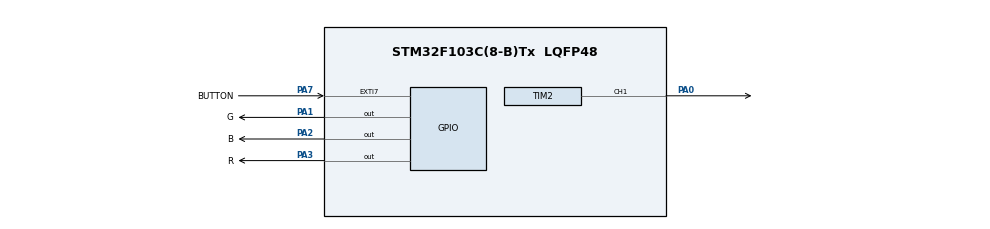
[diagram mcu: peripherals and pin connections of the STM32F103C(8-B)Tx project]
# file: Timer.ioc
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Mcu.Family=STM32F1
Mcu.Name=STM32F103C(8-B)Tx
Mcu.Package=LQFP48
NVIC.EXTI9_5_IRQn=true\:1\:0\:true\:false\:true\:true\:true
NVIC.PriorityGroup=NVIC_PRIORITYGROUP_4
NVIC.TIM2_IRQn=true\:0\:0\:false\:false\:true\:true\:true
PA0-WKUP.Signal=S_TIM2_CH1_ETR
PA1.GPIO_Label=G
PA1.GPIO_ModeDefaultOutputPP=GPIO_MODE_OUTPUT_PP
PA1.GPIO_PuPd=GPIO_PULLDOWN
PA1.Signal=GPIO_Output
PA13.Mode=Serial_Wire
PA13.Signal=SYS_JTMS-SWDIO
PA14.Mode=Serial_Wire
PA14.Signal=SYS_JTCK-SWCLK
PA2.GPIO_Label=B
PA2.GPIO_PuPd=GPIO_PULLDOWN
PA2.Signal=GPIO_Output
PA3.GPIO_Label=R
PA3.GPIO_PuPd=GPIO_PULLDOWN
PA3.Signal=GPIO_Output
PA7.GPIO_Label=BUTTON
PA7.GPIO_ModeDefaultEXTI=GPIO_MODE_IT_FALLING
PA7.GPIO_PuPd=GPIO_PULLUP
PA7.Signal=GPXTI7
ProjectManager.HeapSize=0x200
ProjectManager.StackSize=0x400
ProjectManager.TargetToolchain=STM32CubeIDE
RCC.AHBFreq_Value=8000000
RCC.APB1Freq_Value=8000000
RCC.APB1TimFreq_Value=8000000
RCC.APB2Freq_Value=8000000
RCC.APB2TimFreq_Value=8000000
RCC.HCLKFreq_Value=8000000
SH.S_TIM2_CH1_ETR.0=TIM2_CH1,PWM Generation1 CH1
TIM2.AutoReloadPreload=TIM_AUTORELOAD_PRELOAD_ENABLE
TIM2.Channel-PWM\ Generation1\ CH1=TIM_CHANNEL_1
TIM2.Period=399
TIM2.Prescaler=1999
TIM2.Pulse-PWM\ Generation1\ CH1=199
VP_TIM2_VS_ClockSourceINT.Mode=Internal
board=custom

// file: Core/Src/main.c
/* USER CODE BEGIN Header */
/**
  ******************************************************************************
  * @file           : main.c
  * @brief          : Main program body
  ******************************************************************************
  * @attention
  *
  * <h2><center>&copy; Copyright (c) 2023 STMicroelectronics.
  * All rights reserved.</center></h2>
  *
  * This software component is licensed by ST under BSD 3-Clause license,
  * the "License"; You may not use this file except in compliance with the
  * License. You may obtain a copy of the License at:
  *                        opensource.org/licenses/BSD-3-Clause
  *
  ******************************************************************************
  */
/* USER CODE END Header */
#include "main.h"

/* USER CODE BEGIN PTD */
#define R_ON HAL_GPIO_WritePin(R_GPIO_Port, R_Pin, 1)
#define G_ON HAL_GPIO_WritePin(G_GPIO_Port, G_Pin, 1)
#define B_ON HAL_GPIO_WritePin(B_GPIO_Port, B_Pin, 1)
#define R_OFF HAL_GPIO_WritePin(R_GPIO_Port, R_Pin, 0)
#define G_OFF HAL_GPIO_WritePin(G_GPIO_Port, G_Pin, 0)
#define B_OFF HAL_GPIO_WritePin(B_GPIO_Port, B_Pin, 0)
#define BUTTON_STATE HAL_GPIO_ReadPin(BUTTON_GPIO_Port, BUTTON_Pin)
#define DEBOUNCE_TIME 50
#define PRESS 0
#define RELEASE 1
typedef enum
{
	IDLE = 0,
	WAIT_BUTTON_UP,
	WAIT_PRESS_TIMEOUT,
	WAIT_CLICK_TIMEOUT,
	WAIT_HOLD_TIMEOUT
} my_state_t;

my_state_t state = IDLE;
/* USER CODE END PTD */

TIM_HandleTypeDef htim2;

/* USER CODE BEGIN PV */
uint8_t id_state_LED = 0;
uint8_t button_interrupt = 0;
uint8_t Mode_State = 0;\
uint32_t t_timeout = 0;
uint8_t BT;
uint8_t Percent_PWM = 0;
/* USER CODE END PV */

void SystemClock_Config(void);
static void MX_GPIO_Init(void);
static void MX_TIM2_Init(void);

/* USER CODE BEGIN 0 */
void HAL_TIM_PeriodElapsedCallback(TIM_HandleTypeDef *htim)
{
  /* Prevent unused argument(s) compilation warning */
  UNUSED(htim);
  if (id_state_LED == 1)
  {
	  HAL_GPIO_TogglePin(R_GPIO_Port, R_Pin);
	  G_OFF; B_OFF;
  }

  if (id_state_LED == 2)
    {
  	  HAL_GPIO_TogglePin(G_GPIO_Port, G_Pin);
  	  R_OFF; B_OFF;
    }

  if (id_state_LED == 3)
      {
    	  HAL_GPIO_TogglePin(B_GPIO_Port, B_Pin);
    	  G_OFF; R_OFF;
      }
  if (id_state_LED == 0)
  	  {
	  	  R_OFF; G_OFF; B_OFF;
  	  }
  /* NOTE : This function should not be modified, when the callback is needed,
            the HAL_TIM_PeriodElapsedCallback could be implemented in the user file
   */
}

uint32_t duty_PWM(uint8_t Percent)
{
	return Percent*399/100;
}
/* USER CODE END 0 */

int main(void)
{

  /* MCU Configuration--------------------------------------------------------*/

  /* Reset of all peripherals, Initializes the Flash interface and the Systick. */
  HAL_Init();

  /* USER CODE BEGIN Init */
  HAL_InitTick(TICK_INT_PRIORITY); // Reset HAL_GetTick() to 0
  /* USER CODE END Init */

  /* Configure the system clock */
  SystemClock_Config();

  /* Initialize all configured peripherals */
  MX_GPIO_Init();
  MX_TIM2_Init();

  /* Infinite loop */
  while (1)
  {
	  switch (state)
	  	      {
	  	        case IDLE:
	  	          if (button_interrupt == 1 && BUTTON_STATE == 0)
	  	          {
	  	            state = WAIT_PRESS_TIMEOUT;
	  	            t_timeout = HAL_GetTick() + 50;
	  	          }
	  	          break;

	  	        case WAIT_PRESS_TIMEOUT:
	  	          if (BUTTON_STATE == 0 && HAL_GetTick() > t_timeout)
	  	          {
	  	            state = WAIT_CLICK_TIMEOUT;
	  	            t_timeout = HAL_GetTick() + 250;
	  	          }
	  	          if (BUTTON_STATE == 1 && HAL_GetTick() <= t_timeout)
	  	          {
	  	            state = IDLE;
	  	            button_interrupt = 0;
	  	          }
	  	          break;

	  	        case WAIT_CLICK_TIMEOUT:
	  	          if (BUTTON_STATE == 1 && HAL_GetTick() <= t_timeout)
	  	          {
	  	            if (id_state_LED != 0)
	  	            {
	  	              id_state_LED++;
	  	              if (id_state_LED > 3) id_state_LED = 1;
	  	            }
	  	            state = IDLE;
	  	            button_interrupt = 0;
	  	          }

	  	          if (BUTTON_STATE == 0 && HAL_GetTick() > t_timeout)
	  	          {
	  	            state = WAIT_HOLD_TIMEOUT;
	  	            t_timeout = HAL_GetTick() + 2700;
	  	          }
	  	          break;

	  	        case WAIT_HOLD_TIMEOUT:
	  	          if (BUTTON_STATE == 0 && HAL_GetTick() > t_timeout)
	  	          {
	  	            if (id_state_LED != 0) id_state_LED = 0;
	  	            else id_state_LED = 1;
	  	            state = IDLE;
	  	            button_interrupt = 0;
	  	          }
	  	          break;

	  	        default:
	  	            state = IDLE;
	  	            break;
	  	      }
  }
}

void SystemClock_Config(void)
{
  RCC_OscInitTypeDef RCC_OscInitStruct = {0};
  RCC_ClkInitTypeDef RCC_ClkInitStruct = {0};

  /** Initializes the RCC Oscillators according to the specified parameters
  * in the RCC_OscInitTypeDef structure.
  */
  RCC_OscInitStruct.OscillatorType = RCC_OSCILLATORTYPE_HSI;
  RCC_OscInitStruct.HSIState = RCC_HSI_ON;
  RCC_OscInitStruct.HSICalibrationValue = RCC_HSICALIBRATION_DEFAULT;
  RCC_OscInitStruct.PLL.PLLState = RCC_PLL_NONE;
  if (HAL_RCC_OscConfig(&RCC_OscInitStruct) != HAL_OK)
  {
    Error_Handler();
  }
  /** Initializes the CPU, AHB and APB buses clocks
  */
  RCC_ClkInitStruct.ClockType = RCC_CLOCKTYPE_HCLK|RCC_CLOCKTYPE_SYSCLK
                              |RCC_CLOCKTYPE_PCLK1|RCC_CLOCKTYPE_PCLK2;
  RCC_ClkInitStruct.SYSCLKSource = RCC_SYSCLKSOURCE_HSI;
  RCC_ClkInitStruct.AHBCLKDivider = RCC_SYSCLK_DIV1;
  RCC_ClkInitStruct.APB1CLKDivider = RCC_HCLK_DIV1;
  RCC_ClkInitStruct.APB2CLKDivider = RCC_HCLK_DIV1;

  if (HAL_RCC_ClockConfig(&RCC_ClkInitStruct, FLASH_LATENCY_0) != HAL_OK)
  {
    Error_Handler();
  }
}

static void MX_TIM2_Init(void)
{

  TIM_ClockConfigTypeDef sClockSourceConfig = {0};
  TIM_MasterConfigTypeDef sMasterConfig = {0};
  TIM_OC_InitTypeDef sConfigOC = {0};

  htim2.Instance = TIM2;
  htim2.Init.Prescaler = 199;
  htim2.Init.CounterMode = TIM_COUNTERMODE_UP;
  htim2.Init.Period = 399;
  htim2.Init.ClockDivision = TIM_CLOCKDIVISION_DIV1;
  htim2.Init.AutoReloadPreload = TIM_AUTORELOAD_PRELOAD_ENABLE;
  if (HAL_TIM_Base_Init(&htim2) != HAL_OK)
  {
    Error_Handler();
  }
  sClockSourceConfig.ClockSource = TIM_CLOCKSOURCE_INTERNAL;
  if (HAL_TIM_ConfigClockSource(&htim2, &sClockSourceConfig) != HAL_OK)
  {
    Error_Handler();
  }
  if (HAL_TIM_PWM_Init(&htim2) != HAL_OK)
  {
    Error_Handler();
  }
  sMasterConfig.MasterOutputTrigger = TIM_TRGO_RESET;
  sMasterConfig.MasterSlaveMode = TIM_MASTERSLAVEMODE_DISABLE;
  if (HAL_TIMEx_MasterConfigSynchronization(&htim2, &sMasterConfig) != HAL_OK)
  {
    Error_Handler();
  }
  sConfigOC.OCMode = TIM_OCMODE_PWM1;
  sConfigOC.Pulse = 199;
  sConfigOC.OCPolarity = TIM_OCPOLARITY_HIGH;
  sConfigOC.OCFastMode = TIM_OCFAST_DISABLE;
  if (HAL_TIM_PWM_ConfigChannel(&htim2, &sConfigOC, TIM_CHANNEL_1) != HAL_OK)
  {
    Error_Handler();
  }
  HAL_TIM_MspPostInit(&htim2);

}

static void MX_GPIO_Init(void)
{
  GPIO_InitTypeDef GPIO_InitStruct = {0};

  /* GPIO Ports Clock Enable */
  __HAL_RCC_GPIOA_CLK_ENABLE();

  /*Configure GPIO pin Output Level */
  HAL_GPIO_WritePin(GPIOA, G_Pin|B_Pin|R_Pin, GPIO_PIN_RESET);

  /*Configure GPIO pins : G_Pin B_Pin R_Pin */
  GPIO_InitStruct.Pin = G_Pin|B_Pin|R_Pin;
  GPIO_InitStruct.Mode = GPIO_MODE_OUTPUT_PP;
  GPIO_InitStruct.Pull = GPIO_PULLDOWN;
  GPIO_InitStruct.Speed = GPIO_SPEED_FREQ_LOW;
  HAL_GPIO_Init(GPIOA, &GPIO_InitStruct);

  /*Configure GPIO pin : BUTTON_Pin */
  GPIO_InitStruct.Pin = BUTTON_Pin;
  GPIO_InitStruct.Mode = GPIO_MODE_IT_FALLING;
  GPIO_InitStruct.Pull = GPIO_PULLUP;
  HAL_GPIO_Init(BUTTON_GPIO_Port, &GPIO_InitStruct);

  /* EXTI interrupt init*/
  HAL_NVIC_SetPriority(EXTI9_5_IRQn, 1, 0);
  HAL_NVIC_EnableIRQ(EXTI9_5_IRQn);

}

/* USER CODE BEGIN 4 */
void HAL_GPIO_EXTI_Callback(uint16_t GPIO_Pin)
{
	button_interrupt = 1;
}
/* USER CODE END 4 */

void Error_Handler(void)
{
  __disable_irq();
  while (1)
  {
  }
}

/************************ (C) COPYRIGHT STMicroelectronics *****END OF FILE****/
